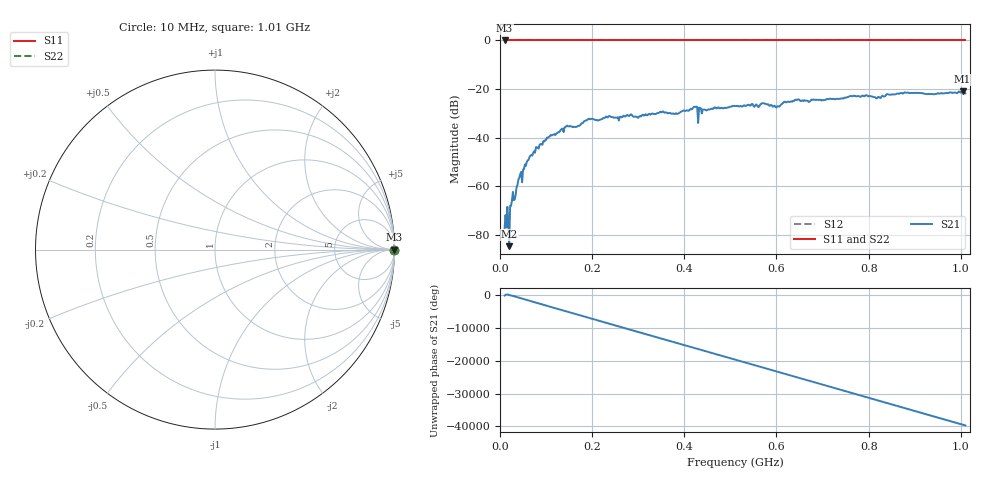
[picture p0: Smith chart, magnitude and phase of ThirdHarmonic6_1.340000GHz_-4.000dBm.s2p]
! 8/16/2025 3:01:34 PM
! C:\ANRITSUVNA\TEMP\TEMP.S2P
! CHANNEL.1
! TR.MEASUREMENT
! RAW.DATA
! RF.CORRECTION.OFF
! AVERAGING.OFF
! IF.BANDWIDTH: 5KHZ
! SWEEPTYPE:  FREQ.SWEEP(Linear)
! Reference Plane Port Info
! PORT:  PORT1  PORT2
! DISTANCE:  0  m  0  m
! TIME:  0  s  0  s
! PHASE.OFFSET:  0  deg.  0  deg.
! LOSS:  0  dB  0  dB
! REF.LOSS:  0  dB  0  dB
! REF.FREQ:  0  Hz  0  Hz
! Power Info
! POWER:  -20  dBm  -20  dBm
! EFF.POWER:  -20  dBm  -20  dBm
! SOURCE.ATTEN:  0  dB  0  dB
! TEST.ATTEN:  0  dB  0  dB
# GHZ S RI R 50.0
! FREQ.GHZ  S11RE  S11IM  S21RE  S21IM  S12RE  S12IM  S22RE  S22IM
!; PortSelection: Port_12
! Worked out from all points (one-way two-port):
!   501 points, 10 MHz to 1.01 GHz, reference 50 ohm
!   highest |S21| = -20.92 dB at 1.004 GHz (marker M1); lowest = -84.7 dB at 20 MHz (marker M2)
!   lowest |S11| = 0.0 dB at 10 MHz (marker M3)
!   |S11| at or under -10 dB: nowhere
!   |S22| runs from 0.0 to 0.0 dB; largest |S21 - S12| = 1.1
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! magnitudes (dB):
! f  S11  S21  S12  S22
! 10 MHz  0.0  -77.2  0.0  0.0
! 20 MHz  0.0  -84.7  0.0  0.0
! 22 MHz  0.0  -68.1  0.0  0.0
! 26 MHz  0.0  -65.8  0.0  0.0
! 34 MHz  0.0  -63.4  0.0  0.0
! 42 MHz  0.0  -56.5  0.0  0.0
! 76 MHz  0.0  -46.2  0.0  0.0
! 106 MHz  0.0  -39.7  0.0  0.0
! 144 MHz  0.0  -35.3  0.0  0.0
! 178 MHz  0.0  -34.1  0.0  0.0
! 196 MHz  0.0  -32.4  0.0  0.0
! 344 MHz  0.0  -29.8  0.0  0.0
! 424 MHz  0.0  -27.3  0.0  0.0
! 434 MHz  0.0  -27.8  0.0  0.0
! 510 MHz  0.0  -27.0  0.0  0.0
! 572 MHz  0.0  -25.9  0.0  0.0
! 602 MHz  0.0  -27.1  0.0  0.0
! 644 MHz  0.0  -24.5  0.0  0.0
! 678 MHz  0.0  -24.4  0.0  0.0
! 844 MHz  0.0  -22.3  0.0  0.0
! 1.004 GHz  0.0  -20.9  0.0  0.0
! 1.01 GHz  0.0  -21.7  0.0  0.0
